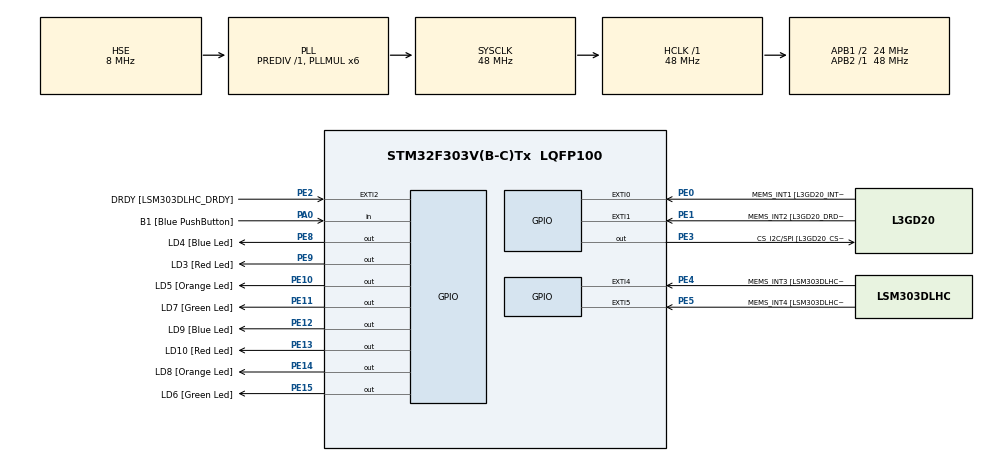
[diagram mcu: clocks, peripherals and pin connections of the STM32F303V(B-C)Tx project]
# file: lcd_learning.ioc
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Mcu.Family=STM32F3
Mcu.Name=STM32F303V(B-C)Tx
Mcu.Package=LQFP100
NVIC.PriorityGroup=NVIC_PRIORITYGROUP_1
NVIC.TIM3_IRQn=true\:1\:0\:true\:false\:true\:true\:true
PA0.GPIO_Label=B1 [Blue PushButton]
PA0.Signal=GPIO_Input
PA11.GPIO_Label=DM
PA11.Signal=USB_DM
PA12.GPIO_Label=DP
PA12.Signal=USB_DP
PA13.GPIO_Label=SWDIO
PA13.Mode=Serial_Wire
PA13.Signal=SYS_JTMS-SWDIO
PA14.GPIO_Label=SWCLK
PA14.Mode=Serial_Wire
PA14.Signal=SYS_JTCK-SWCLK
PA5.GPIO_Label=SPI1_SCK [L3GD20_SCL/SPC]
PA5.Signal=SPI1_SCK
PA6.GPIO_Label=SPI1_MISO [L3GD20_SA0/SDO]
PA6.Signal=SPI1_MISO
PA7.GPIO_Label=SPI1_MISO [L3GD20_SDA/SDI/SDO]
PA7.Signal=SPI1_MOSI
PB3.GPIO_Label=SWO
PB3.Signal=SYS_JTDO-TRACESWO
PB6.GPIO_Label=I2C1_SCL [LSM303DLHC_SCL]
PB6.GPIO_Pu=GPIO_PULLUP
PB6.Signal=I2C1_SCL
PB7.GPIO_Label=I2C1_SDA [LSM303DLHC_SDA]
PB7.GPIO_Pu=GPIO_PULLUP
PB7.Signal=I2C1_SDA
PC14-OSC32_IN.GPIO_Label=OSC32_IN
PC14-OSC32_IN.Signal=RCC_OSC32_IN
PC15-OSC32_OUT.GPIO_Label=OSC32_OUT
PC15-OSC32_OUT.Signal=RCC_OSC32_OUT
PE0.GPIO_Label=MEMS_INT1 [L3GD20_INT1]
PE0.GPIO_ModeDefaultEXTI=GPIO_MODE_EVT_RISING
PE0.Signal=GPXTI0
PE1.GPIO_Label=MEMS_INT2 [L3GD20_DRDY/INT2]
PE1.GPIO_ModeDefaultEXTI=GPIO_MODE_EVT_RISING
PE1.Signal=GPXTI1
PE10.GPIO_Label=LD5 [Orange Led]
PE10.Signal=GPIO_Output
PE11.GPIO_Label=LD7 [Green Led]
PE11.Signal=GPIO_Output
PE12.GPIO_Label=LD9 [Blue Led]
PE12.Signal=GPIO_Output
PE13.GPIO_Label=LD10 [Red Led]
PE13.Signal=GPIO_Output
PE14.GPIO_Label=LD8 [Orange Led]
PE14.Signal=GPIO_Output
PE15.GPIO_Label=LD6 [Green Led]
PE15.Signal=GPIO_Output
PE2.GPIO_Label=DRDY [LSM303DLHC_DRDY]
PE2.GPIO_ModeDefaultEXTI=GPIO_MODE_EVT_RISING
PE2.Signal=GPXTI2
PE3.GPIO_Label=CS_I2C/SPI [L3GD20_CS_I2C/SPI]
PE3.Signal=GPIO_Output
PE4.GPIO_Label=MEMS_INT3 [LSM303DLHC_INT1]
PE4.GPIO_ModeDefaultEXTI=GPIO_MODE_EVT_RISING
PE4.Signal=GPXTI4
PE5.GPIO_Label=MEMS_INT4 [LSM303DLHC_INT2]
PE5.GPIO_ModeDefaultEXTI=GPIO_MODE_EVT_RISING
PE5.Signal=GPXTI5
PE8.GPIO_Label=LD4 [Blue Led]
PE8.Signal=GPIO_Output
PE9.GPIO_Label=LD3 [Red Led]
PE9.Signal=GPIO_Output
PF0-OSC_IN.GPIO_Label=OSC_IN
PF0-OSC_IN.Mode=HSE-External-Clock-Source
PF0-OSC_IN.Signal=RCC_OSC_IN
PF1-OSC_OUT.GPIO_Label=OSC_OUT
PF1-OSC_OUT.Signal=RCC_OSC_OUT
ProjectManager.HeapSize=0x200
ProjectManager.StackSize=0x400
ProjectManager.TargetToolchain=STM32CubeIDE
RCC.AHBFreq_Value=48000000
RCC.APB1CLKDivider=RCC_HCLK_DIV2
RCC.APB1Freq_Value=24000000
RCC.APB1TimFreq_Value=48000000
RCC.APB2Freq_Value=48000000
RCC.APB2TimFreq_Value=48000000
RCC.CortexFreq_Value=48000000
RCC.HCLKFreq_Value=48000000
RCC.HSE_VALUE=8000000
RCC.HSI_VALUE=8000000
RCC.LSE_VALUE=32768
RCC.PLLMUL=RCC_PLL_MUL6
RCC.PLLSourceVirtual=RCC_PLLSOURCE_HSE
RCC.SYSCLKFreq_VALUE=48000000
RCC.SYSCLKSourceVirtual=RCC_SYSCLKSOURCE_PLLCLK
RCC.USBFreq_Value=48000000
TIM3.Period=9999
TIM3.Prescaler=2399
VP_TIM3_VS_ClockSourceINT.Mode=Internal
board=STM32F3DISCOVERY

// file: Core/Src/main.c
/* USER CODE BEGIN Header */
/**
  ******************************************************************************
  * @file           : main.c
  * @brief          : Main program body
  ******************************************************************************
  * @attention
  *
  * <h2><center>&copy; Copyright (c) 2021 STMicroelectronics.
  * All rights reserved.</center></h2>
  *
  * This software component is licensed by ST under BSD 3-Clause license,
  * the "License"; You may not use this file except in compliance with the
  * License. You may obtain a copy of the License at:
  *                        opensource.org/licenses/BSD-3-Clause
  *
  ******************************************************************************
  */
/* USER CODE END Header */
#include "main.h"

/* USER CODE BEGIN Includes */
#include "LiquidCrystal.h"
/* USER CODE END Includes */

/* USER CODE BEGIN PTD */
typedef unsigned char byte;
/* USER CODE END PTD */

TIM_HandleTypeDef htim3;

/* USER CODE BEGIN PV */
byte too[] = {
  0x03,
  0x00,
  0x0D,
  0x0D,
  0x0F,
  0x04,
  0x04,
  0x1C
};
byte raj[] = {
  0x00,
  0x1C,
  0x15,
  0x05,
  0x1D,
  0x11,
  0x15,
  0x1B
};
byte taa[] = {
  0x00,
  0x10,
  0x17,
  0x15,
  0x1F,
  0x00,
  0x00,
  0x00
};
byte raa[] = {
  0x00,
  0x08,
  0x08,
  0x08,
  0x0B,
  0x0A,
  0x02,
  0x0E
};
byte z[] = {
  0x00,
  0x01,
  0x00,
  0x01,
  0x01,
  0x01,
  0x01,
  0x07
};
/* USER CODE END PV */

void SystemClock_Config(void);
static void MX_GPIO_Init(void);
static void MX_TIM3_Init(void);

/* USER CODE BEGIN 0 */
void add_special_chars() {
  createChar(0, too);
  createChar(1, raj);
  createChar(2, taa);
  createChar(3, raa);
  createChar(4, z);
}
/* USER CODE END 0 */

int main(void)
{

  /* MCU Configuration--------------------------------------------------------*/

  /* Reset of all peripherals, Initializes the Flash interface and the Systick. */
  HAL_Init();

  /* USER CODE BEGIN Init */
  LiquidCrystal(GPIOD, GPIO_PIN_8, GPIO_PIN_9, GPIO_PIN_10, GPIO_PIN_11, GPIO_PIN_12, GPIO_PIN_13, GPIO_PIN_14);
  /* USER CODE END Init */

  /* Configure the system clock */
  SystemClock_Config();

  /* Initialize all configured peripherals */
  MX_GPIO_Init();
  MX_TIM3_Init();
  /* USER CODE BEGIN 2 */
  add_special_chars();
  begin(20, 4);
  HAL_TIM_Base_Start_IT(&htim3);
  /* USER CODE END 2 */

  /* Infinite loop */
  while (1)
  {

  }
}

void SystemClock_Config(void)
{
  RCC_OscInitTypeDef RCC_OscInitStruct = {0};
  RCC_ClkInitTypeDef RCC_ClkInitStruct = {0};

  /** Initializes the RCC Oscillators according to the specified parameters
  * in the RCC_OscInitTypeDef structure.
  */
  RCC_OscInitStruct.OscillatorType = RCC_OSCILLATORTYPE_HSE;
  RCC_OscInitStruct.HSEState = RCC_HSE_BYPASS;
  RCC_OscInitStruct.HSEPredivValue = RCC_HSE_PREDIV_DIV1;
  RCC_OscInitStruct.HSIState = RCC_HSI_ON;
  RCC_OscInitStruct.PLL.PLLState = RCC_PLL_ON;
  RCC_OscInitStruct.PLL.PLLSource = RCC_PLLSOURCE_HSE;
  RCC_OscInitStruct.PLL.PLLMUL = RCC_PLL_MUL6;
  if (HAL_RCC_OscConfig(&RCC_OscInitStruct) != HAL_OK)
  {
    Error_Handler();
  }
  /** Initializes the CPU, AHB and APB buses clocks
  */
  RCC_ClkInitStruct.ClockType = RCC_CLOCKTYPE_HCLK|RCC_CLOCKTYPE_SYSCLK
                              |RCC_CLOCKTYPE_PCLK1|RCC_CLOCKTYPE_PCLK2;
  RCC_ClkInitStruct.SYSCLKSource = RCC_SYSCLKSOURCE_PLLCLK;
  RCC_ClkInitStruct.AHBCLKDivider = RCC_SYSCLK_DIV1;
  RCC_ClkInitStruct.APB1CLKDivider = RCC_HCLK_DIV2;
  RCC_ClkInitStruct.APB2CLKDivider = RCC_HCLK_DIV1;

  if (HAL_RCC_ClockConfig(&RCC_ClkInitStruct, FLASH_LATENCY_1) != HAL_OK)
  {
    Error_Handler();
  }
}

static void MX_TIM3_Init(void)
{

  TIM_ClockConfigTypeDef sClockSourceConfig = {0};
  TIM_MasterConfigTypeDef sMasterConfig = {0};

  htim3.Instance = TIM3;
  htim3.Init.Prescaler = 2399;
  htim3.Init.CounterMode = TIM_COUNTERMODE_UP;
  htim3.Init.Period = 9999;
  htim3.Init.ClockDivision = TIM_CLOCKDIVISION_DIV1;
  htim3.Init.AutoReloadPreload = TIM_AUTORELOAD_PRELOAD_DISABLE;
  if (HAL_TIM_Base_Init(&htim3) != HAL_OK)
  {
    Error_Handler();
  }
  sClockSourceConfig.ClockSource = TIM_CLOCKSOURCE_INTERNAL;
  if (HAL_TIM_ConfigClockSource(&htim3, &sClockSourceConfig) != HAL_OK)
  {
    Error_Handler();
  }
  sMasterConfig.MasterOutputTrigger = TIM_TRGO_RESET;
  sMasterConfig.MasterSlaveMode = TIM_MASTERSLAVEMODE_DISABLE;
  if (HAL_TIMEx_MasterConfigSynchronization(&htim3, &sMasterConfig) != HAL_OK)
  {
    Error_Handler();
  }

}

static void MX_GPIO_Init(void)
{
  GPIO_InitTypeDef GPIO_InitStruct = {0};

  /* GPIO Ports Clock Enable */
  __HAL_RCC_GPIOE_CLK_ENABLE();
  __HAL_RCC_GPIOC_CLK_ENABLE();
  __HAL_RCC_GPIOF_CLK_ENABLE();
  __HAL_RCC_GPIOA_CLK_ENABLE();
  __HAL_RCC_GPIOB_CLK_ENABLE();

  /*Configure GPIO pin Output Level */
  HAL_GPIO_WritePin(GPIOE, CS_I2C_SPI_Pin|LD4_Pin|LD3_Pin|LD5_Pin
                          |LD7_Pin|LD9_Pin|LD10_Pin|LD8_Pin
                          |LD6_Pin, GPIO_PIN_RESET);

  /*Configure GPIO pins : DRDY_Pin MEMS_INT3_Pin MEMS_INT4_Pin MEMS_INT1_Pin
                           MEMS_INT2_Pin */
  GPIO_InitStruct.Pin = DRDY_Pin|MEMS_INT3_Pin|MEMS_INT4_Pin|MEMS_INT1_Pin
                          |MEMS_INT2_Pin;
  GPIO_InitStruct.Mode = GPIO_MODE_EVT_RISING;
  GPIO_InitStruct.Pull = GPIO_NOPULL;
  HAL_GPIO_Init(GPIOE, &GPIO_InitStruct);

  /*Configure GPIO pins : CS_I2C_SPI_Pin LD4_Pin LD3_Pin LD5_Pin
                           LD7_Pin LD9_Pin LD10_Pin LD8_Pin
                           LD6_Pin */
  GPIO_InitStruct.Pin = CS_I2C_SPI_Pin|LD4_Pin|LD3_Pin|LD5_Pin
                          |LD7_Pin|LD9_Pin|LD10_Pin|LD8_Pin
                          |LD6_Pin;
  GPIO_InitStruct.Mode = GPIO_MODE_OUTPUT_PP;
  GPIO_InitStruct.Pull = GPIO_NOPULL;
  GPIO_InitStruct.Speed = GPIO_SPEED_FREQ_LOW;
  HAL_GPIO_Init(GPIOE, &GPIO_InitStruct);

  /*Configure GPIO pin : B1_Pin */
  GPIO_InitStruct.Pin = B1_Pin;
  GPIO_InitStruct.Mode = GPIO_MODE_INPUT;
  GPIO_InitStruct.Pull = GPIO_NOPULL;
  HAL_GPIO_Init(B1_GPIO_Port, &GPIO_InitStruct);

  /*Configure GPIO pins : SPI1_SCK_Pin SPI1_MISO_Pin SPI1_MISOA7_Pin */
  GPIO_InitStruct.Pin = SPI1_SCK_Pin|SPI1_MISO_Pin|SPI1_MISOA7_Pin;
  GPIO_InitStruct.Mode = GPIO_MODE_AF_PP;
  GPIO_InitStruct.Pull = GPIO_NOPULL;
  GPIO_InitStruct.Speed = GPIO_SPEED_FREQ_HIGH;
  GPIO_InitStruct.Alternate = GPIO_AF5_SPI1;
  HAL_GPIO_Init(GPIOA, &GPIO_InitStruct);

  /*Configure GPIO pins : DM_Pin DP_Pin */
  GPIO_InitStruct.Pin = DM_Pin|DP_Pin;
  GPIO_InitStruct.Mode = GPIO_MODE_AF_PP;
  GPIO_InitStruct.Pull = GPIO_NOPULL;
  GPIO_InitStruct.Speed = GPIO_SPEED_FREQ_HIGH;
  GPIO_InitStruct.Alternate = GPIO_AF14_USB;
  HAL_GPIO_Init(GPIOA, &GPIO_InitStruct);

  /*Configure GPIO pins : I2C1_SCL_Pin I2C1_SDA_Pin */
  GPIO_InitStruct.Pin = I2C1_SCL_Pin|I2C1_SDA_Pin;
  GPIO_InitStruct.Mode = GPIO_MODE_AF_OD;
  GPIO_InitStruct.Pull = GPIO_PULLUP;
  GPIO_InitStruct.Speed = GPIO_SPEED_FREQ_HIGH;
  GPIO_InitStruct.Alternate = GPIO_AF4_I2C1;
  HAL_GPIO_Init(GPIOB, &GPIO_InitStruct);

}

void Error_Handler(void)
{
  __disable_irq();
  while (1)
  {
  }
}

/************************ (C) COPYRIGHT STMicroelectronics *****END OF FILE****/
